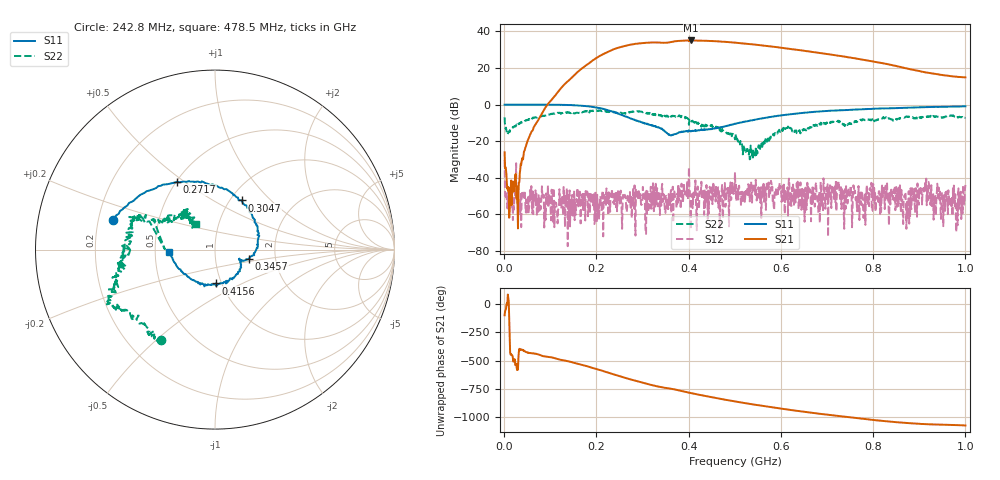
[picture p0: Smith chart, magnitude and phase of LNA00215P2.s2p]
! Created with skrf 1.9.0 (http://scikit-rf.org).
# Hz S RI R 50.0
!freq ReS11 ImS11 ReS21 ImS21 ReS12 ImS12 ReS22 ImS22
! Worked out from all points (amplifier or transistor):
!   1001 points, 1 MHz to 1 GHz, reference 50 ohm
!   highest |S21| = 35.1 dB at 405.6 MHz (marker M1)
!   |S21| within 3 dB of that: 262.3 MHz to 569.1 MHz (306.8 MHz wide, 73.8 % of centre)
!   unconditionally stable (mu >= 1): start of sweep to 94.48 MHz; 222.1 MHz to 400.4 MHz; 400.9 MHz to end of sweep (the widest 3 of 21)
!   at 166.8 MHz: K = 1.74, MAG = 31.2 dB, |S12| = -53.1 dB
!   at 500.5 MHz: K = 1.01, MAG = 34.9 dB, |S12| = -37.1 dB
!   at 1 GHz: K = 1.87, MAG = 24.1 dB, |S12| = -44.0 dB
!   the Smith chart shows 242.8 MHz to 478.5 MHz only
!   S11 on the Smith chart (normalised r, x): 242.8 MHz: 0.26, +0.13; 271.7 MHz: 0.51, +0.47; 304.7 MHz: 1.14, +0.69; 345.7 MHz: 1.46, -0.16; 415.6 MHz: 0.94, -0.37; 478.5 MHz: 0.59, -0.01
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1000000  0.9959 0.0138  -0.00744 -0.049  -0.0287 0.0106  0.2877 0.3467
1.08892e8  0.5124 -0.8481  -0.7769 -1.477  -0.00042 0.000149  0.4314 -0.3571
1.67833e8  -0.2459 -0.8977  -9.587 -0.6332  0.00168 0.00291  0.0501 -0.6307
2.09791e8  -0.6865 -0.3799  -15.44 15.98  0.000665 -0.00167  -0.1905 -0.6598
2.42758e8  -0.5694 0.1643  -0.9242 34.12  -0.00151 0.000386  -0.3034 -0.501
2.71729e8  -0.2102 0.3778  23.8 35.58  0.000819 0.00169  -0.4969 -0.3352
3.04696e8  0.1516 0.2739  45.99 15.79  -0.000425 0.00387  -0.5651 -0.2073
3.34666e8  0.2383 0.0217  48.87 -8.893  -0.00155 0.00118  -0.5194 -0.0323
3.45655e8  0.1902 -0.0512  46.46 -15.82  0.00265 0.00241  -0.5178 0.0203
3.74626e8  0.1438 -0.0755  41.73 -34.87  -0.00155 0.000553  -0.4316 0.1639
4.05595e8  0.0531 -0.1824  21.35 -52.48  0.00102 0.0023  -0.317 0.1673
4.15585e8  0.00537 -0.1885  13.68 -54.77  0.00235 -0.000919  -0.2826 0.1741
4.45555e8  -0.1458 -0.1526  -9.965 -53.94  0.00519 0.0023  -0.178 0.2124
4.78522e8  -0.2551 -0.0114  -30.45 -42.07  0.00625 0.00353  -0.1062 0.1437
5.005e8  -0.2756 0.1183  -38.73 -30.8  0.0135 -0.00379  -0.1059 0.0373
5.4046e8  -0.2035 0.3198  -43.12 -8.733  0.00658 -0.00202  -0.0494 0.032
5.87413e8  -0.00431 0.483  -35.98 11.78  0.003 -0.00288  -0.1423 -0.0873
6.25375e8  0.1758 0.5252  -24.95 20.74  0.00075 -0.00472  -0.1413 -0.1239
6.67333e8  0.3806 0.495  -12.77 24.26  0.000798 -0.00161  -0.2584 -0.0495
7.53247e8  0.6647 0.2886  4.668 18.42  0.00273 -0.00325  -0.3007 0.0173
8.34166e8  0.79 0.0355  9.458 8.185  -0.000105 -0.000489  -0.409 0.0609
1e9  0.7326 -0.5151  5.528 0.5793  -9.77e-05 0.00634  -0.2474 0.3728
